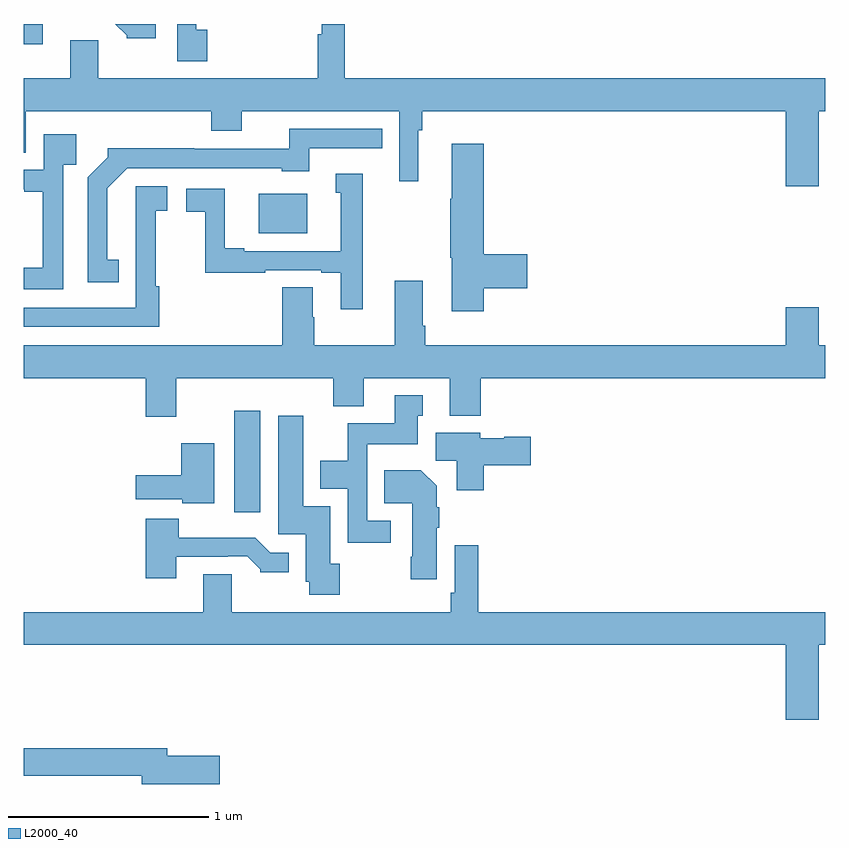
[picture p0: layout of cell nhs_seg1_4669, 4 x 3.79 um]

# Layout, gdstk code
import gdstk
lib = gdstk.Library(unit=1e-6, precision=1e-09)
def R(c, l, rs):  # rectangles x0, y0, x1, y1
    for r in rs: c.add(gdstk.rectangle(r[:2], r[2:], *l))
def P(c, l, *ps):  # polygons
    for p in ps: c.add(gdstk.Polygon(p, *l))
L2000_40 = (2000, 40)

nhs_seg1_4669 = lib.new_cell('nhs_seg1_4669')
R(nhs_seg1_4669, L2000_40, [(366.05,517.761,366.181,518.269), (366.173,519.155,366.415,519.352), (365,520.097,365.095,520.199)])
P(nhs_seg1_4669, L2000_40, [(365.915,520.17),(365.862,520.17),(365.862,520.199),(365.766,520.199),(365.766,520.014),(365.915,520.014)],
  [(365.659,520.199),(365.457,520.199),(365.514,520.142),(365.514,520.127),(365.659,520.127)],
  [(368.968,519.764),(369,519.764),(369,519.928),(366.602,519.928),(366.602,520.199),(366.486,520.199),(366.486,520.148),(366.466,520.148),(366.466,519.928),(365.371,519.928),(365.371,520.118),(365.231,520.118),(365.231,519.928),(365,519.928),(365,519.556),(365.011,519.556),(365.011,519.764),(365.936,519.764),(365.936,519.665),(366.088,519.665),(366.088,519.764),(366.873,519.764),(366.873,519.414),(366.97,519.414),(366.97,519.668),(366.989,519.668),(366.989,519.764),(368.804,519.764),(368.804,519.39),(368.968,519.39)],
  [(365.474,519.023),(365.416,519.023),(365.416,519.379),(365.517,519.48),(366.288,519.48),(366.288,519.464),(366.424,519.464),(366.424,519.579),(366.788,519.579),(366.788,519.675),(366.325,519.675),(366.325,519.576),(365.852,519.576),(365.852,519.578),(365.418,519.578),(365.418,519.533),(365.319,519.434),(365.319,518.91),(365.474,518.91)],
  [(365.196,519.497),(365.261,519.497),(365.261,519.649),(365.1,519.649),(365.1,519.471),(365,519.471),(365,519.375),(365.003,519.375),(365.003,519.363),(365.095,519.363),(365.095,518.983),(365,518.983),(365,518.874),(365.196,518.874)],
  [(367.295,518.879),(367.513,518.879),(367.513,519.05),(367.295,519.05),(367.295,519.601),(367.136,519.601),(367.136,519.326),(367.129,519.326),(367.129,519.033),(367.136,519.033),(367.136,518.766),(367.295,518.766)],
  [(366.691,519.451),(366.557,519.451),(366.557,519.357),(366.581,519.357),(366.581,519.066),(366.1,519.066),(366.1,519.079),(366.004,519.079),(366.004,519.378),(365.811,519.378),(365.811,519.262),(365.905,519.262),(365.905,518.958),(366.206,518.958),(366.206,518.97),(366.485,518.97),(366.485,518.958),(366.581,518.958),(366.581,518.775),(366.691,518.775)],
  [(365.675,518.891),(365.658,518.891),(365.658,519.267),(365.716,519.267),(365.716,519.388),(365.558,519.388),(365.558,519.112),(365.559,519.112),(365.559,518.784),(365,518.784),(365,518.688),(365.675,518.688)],
  [(367.004,518.692),(366.991,518.692),(366.991,518.917),(366.851,518.917),(366.851,518.596),(366.45,518.596),(366.45,518.735),(366.442,518.735),(366.442,518.885),(366.29,518.885),(366.29,518.596),(365,518.596),(365,518.432),(365.609,518.432),(365.609,518.238),(365.761,518.238),(365.761,518.432),(366.545,518.432),(366.545,518.291),(366.697,518.291),(366.697,518.432),(367.127,518.432),(367.127,518.243),(367.28,518.243),(367.28,518.432),(369,518.432),(369,518.596),(368.968,518.596),(368.968,518.785),(368.804,518.785),(368.804,518.596),(367.004,518.596)],
  [(366.832,517.719),(366.714,517.719),(366.714,518.102),(366.967,518.102),(366.967,518.244),(366.991,518.244),(366.991,518.347),(366.851,518.347),(366.851,518.206),(366.616,518.206),(366.616,518.02),(366.479,518.02),(366.479,517.88),(366.618,517.88),(366.618,517.611),(366.832,517.611)],
  [(366.576,517.506),(366.529,517.506),(366.529,517.792),(366.394,517.792),(366.394,518.245),(366.269,518.245),(366.269,517.653),(366.407,517.653),(366.407,517.416),(366.424,517.416),(366.424,517.35),(366.576,517.35)],
  [(367.295,517.996),(367.531,517.996),(367.531,518.139),(367.398,518.139),(367.398,518.131),(367.278,518.131),(367.278,518.158),(367.055,518.158),(367.055,518.02),(367.16,518.02),(367.16,517.871),(367.295,517.871)],
  [(365.95,518.107),(365.786,518.107),(365.786,517.948),(365.559,517.948),(365.559,517.826),(365.79,517.826),(365.79,517.808),(365.95,517.808)],
  [(367.06,517.684),(367.073,517.684),(367.073,517.787),(367.06,517.787),(367.06,517.894),(366.982,517.972),(366.799,517.972),(366.799,517.808),(366.938,517.808),(366.938,517.54),(366.931,517.54),(366.931,517.428),(367.06,517.428)],
  [(365.761,517.539),(366.017,517.539),(366.017,517.542),(366.116,517.542),(366.18,517.478),(366.18,517.463),(366.322,517.463),(366.322,517.56),(366.231,517.56),(366.155,517.636),(365.774,517.636),(365.774,517.729),(365.609,517.729),(365.609,517.434),(365.761,517.434)],
  [(368.968,517.1),(369,517.1),(369,517.264),(367.268,517.264),(367.268,517.597),(367.152,517.597),(367.152,517.36),(367.132,517.36),(367.132,517.264),(366.037,517.264),(366.037,517.454),(365.897,517.454),(365.897,517.264),(365,517.264),(365,517.1),(368.804,517.1),(368.804,516.726),(368.968,516.726)],
  [(365.977,516.548),(365.716,516.548),(365.716,516.584),(365,516.584),(365,516.448),(365.588,516.448),(365.588,516.406),(365.977,516.406)])

lib.write_gds('nhs_seg1_4669.gds')
